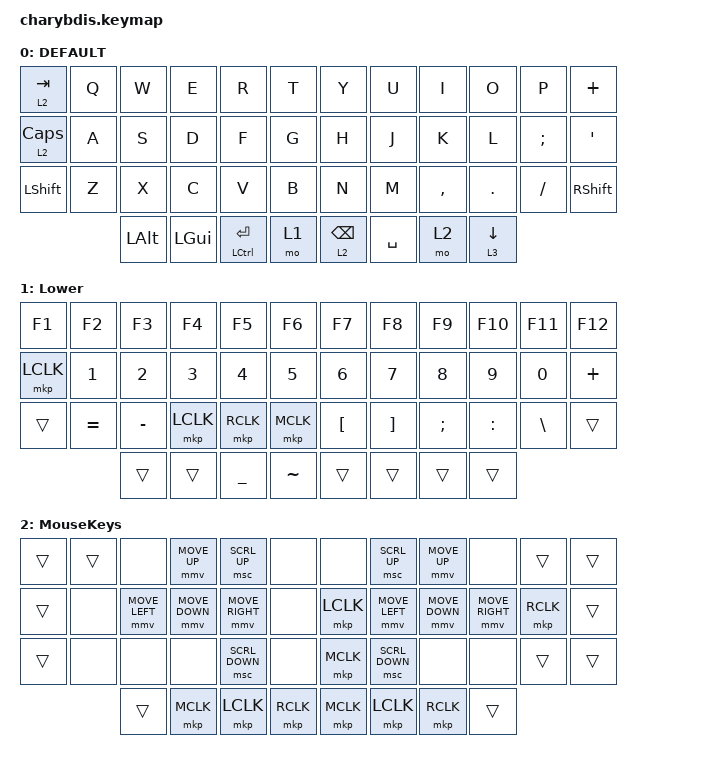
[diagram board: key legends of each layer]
#include <behaviors.dtsi>
#include <dt-bindings/zmk/mouse.h>
#include <dt-bindings/zmk/bt.h>
#include <dt-bindings/zmk/keys.h>
#include <dt-bindings/zmk/outputs.h>

#define DEFAULT 0
#define NUMBER  1
#define FN  2
#define HOTKEY  3



/ {
    

    combos {
        compatible = "zmk,combos";



        combo_lbrc {
            timeout-ms = <50>;
            key-positions = <4 5>; // KP: VB
            bindings = <&mt RBRC LBRC>; 
            layers = <0 1 2 3 4 5>;
        };

        combo_rbrc {
            timeout-ms = <50>;
            key-positions = <6 7>; // KP: NM
            bindings = <&kp RBRC>; 
            layers = <0 1 2 3 4 5>;
        }; 

        combo_lpar {
            timeout-ms = <50>;
            key-positions = <16 17>; // KP: FG
            bindings = <&mt RPAR LPAR>; 
            layers = <0 1 2 3 4 5>;
        };

        combo_rpar {
            timeout-ms = <50>;
            key-positions = <18 19>; 
            bindings = <&kp RPAR>; 
            layers = <0 1 2 3 4 5>;
        };

        combo_lbkt {
            timeout-ms = <50>;
            key-positions = <28 29>; // KP: RT
            bindings = <&mt RBKT LBKT>;  // 可以用CMD+这个单手返回到代码上一个编辑的地方 或者网页返回
            layers = <0 1 2 3 4 5>;
        };
        combo_rbkt {
            timeout-ms = <50>;
            key-positions = <30 31>; // KP: YU
            bindings = <&kp RBKT>; 
            layers = <0 1 2 3 4 5>;
        };

        esc {
            timeout-ms = <50>;
            key-positions = <0 1>;
            bindings = <&kp ESC>; // ESC
            layers = <0>;
        };

        up {
            bindings = <&kp UP>;
            key-positions = <3 4>;
            layers = <0>;
            timeout-ms = <50>;
        };

        down {
            bindings = <&kp DOWN>;
            key-positions = <27 28>;
            timeout-ms = <50>;
            layers = <0>;
        };

        left {
            bindings = <&kp LEFT>;
            key-positions = <14 15>;
            layers = <0>;
            timeout-ms = <50>;
        };

        right {
            bindings = <&kp RIGHT>;
            key-positions = <15 16>;
            layers = <0>;
            timeout-ms = <50>;
        };
    };

    keymap {
        compatible = "zmk,keymap";

        default_layer {
            label = "DEFAULT";
            bindings = <
     
// ╭────────────────────────┬────────────────────────┬────────────────────────┬────────────────────────┬────────────────────────┬────────────────────────╮    ╭────────────────────────┬────────────────────────┬────────────────────────┬───────────────────────┬────────────────────────┬────────────────────────╮
     &lt 2 TAB                  &kp Q                    &kp W                    &kp E                    &kp R                    &kp T                         &kp Y                    &kp U                    &kp I                    &kp O                    &kp P                     &kp PLUS
// ├────────────────────────┼────────────────────────┼────────────────────────┼────────────────────────┼────────────────────────┼────────────────────────┤    ├────────────────────────┼────────────────────────┼────────────────────────┼───────────────────────┼────────────────────────┼────────────────────────┤
    &lt 2 CAPSLOCK                &kp A                    &kp S                    &kp D                    &kp F                    &kp G                         &kp H                    &kp J                    &kp K                    &kp L                    &kp SEMI                 &kp SQT
// ├────────────────────────┼────────────────────────┼────────────────────────┼────────────────────────┼────────────────────────┼────────────────────────┤    ├────────────────────────┼────────────────────────┼────────────────────────┼───────────────────────┼────────────────────────┼────────────────────────┤
     &kp LSHFT                &kp Z                    &kp X                    &kp C                    &kp V                    &kp B                         &kp N                    &kp M                    &kp COMMA                &kp DOT                  &kp FSLH                 &kp RSHFT
// ╰────────────────────────┴────────────────────────┴────────────────────────┴────────────────────────┼────────────────────────┼────────────────────────┤    ├────────────────────────┼────────────────────────┼────────────────────────┼───────────────────────┼────────────────────────┼────────────────────────╯
                                                          &kp LEFT_ALT             &kp LGUI               &mt LCTRL ENTER            &mo 1                       &lt 2 BACKSPACE             &kp SPACE               &mo 2                      &lt 3 DOWN                       
//                                                                            ╰────────────────────────┴────────────────────────┴────────────────────────╯    ╰────────────────────────┴────────────────────────┴────────────────────────╯

      >;
        };
        
       Lower_layer {
      display-name = "Lower";
      bindings = <
     
// ╭────────────────────────┬────────────────────────┬────────────────────────┬────────────────────────┬────────────────────────┬────────────────────────╮    ╭────────────────────────┬────────────────────────┬────────────────────────┬────────────────────────┬────────────────────────┬────────────────────────╮
     &kp F1                       &kp F2                        &kp F3               &kp F4                   &kp F5                  &kp F6                    &kp F7                         &kp F8                    &kp F9                 &kp F10                     &kp F11            &kp F12
// ├────────────────────────┼────────────────────────┼────────────────────────┼────────────────────────┼────────────────────────┼────────────────────────┤    ├────────────────────────┼────────────────────────┼────────────────────────┼────────────────────────┼────────────────────────┼────────────────────────┤
      &mkp LCLK                  &kp N1                    &kp N2                    &kp N3                   &kp N4                   &kp N5                    &kp N6                        &kp N7                    &kp N8                 &kp N9                       &kp N0             &kp PLUS
// ├────────────────────────┼────────────────────────┼────────────────────────┼────────────────────────┼────────────────────────┼────────────────────────┤    ├────────────────────────┼────────────────────────┼────────────────────────┼────────────────────────┼────────────────────────┼────────────────────────┤
     &trans                   &kp EQUAL                &kp MINUS               &mkp LCLK                &mkp RCLK            &mkp MCLK              &kp LEFT_BRACKET         &kp RIGHT_BRACKET        &kp SEMICOLON            &kp COLON                &kp BACKSLASH             &trans
// ╰────────────────────────┴────────────────────────┴────────────────────────┴────────────────────────┼────────────────────────┼────────────────────────┤    ├────────────────────────┼────────────────────────┼────────────────────────┼────────────────────────┴────────────────────────┼────────────────────────╯
                                                         &trans                 &trans                      &kp UNDERSCORE           &kp TILDE                                &trans                    &trans                 &trans               &trans
//                                                                            ╰────────────────────────┴────────────────────────┴────────────────────────╯    ╰────────────────────────┴────────────────────────┴────────────────────────╯
      >;
    };

MouseKeys_layer {
      display-name = "MouseKeys";
      bindings = <
      
// ╭────────────────────────┬────────────────────────┬────────────────────────┬────────────────────────┬────────────────────────┬────────────────────────╮    ╭────────────────────────┬────────────────────────┬────────────────────────┬────────────────────────┬────────────────────────┬────────────────────────╮
     &trans             &trans             &none                    &mmv MOVE_UP             &msc SCRL_UP             &none                         &none                    &msc SCRL_UP             &mmv MOVE_UP             &none                    &trans              &trans
// ├────────────────────────┼────────────────────────┼────────────────────────┼────────────────────────┼────────────────────────┼────────────────────────┤    ├────────────────────────┼────────────────────────┼────────────────────────┼────────────────────────┼────────────────────────┼────────────────────────┤
     &trans                   &none                    &mmv MOVE_LEFT           &mmv MOVE_DOWN           &mmv MOVE_RIGHT          &none                         &mkp LCLK                     &mmv MOVE_LEFT           &mmv MOVE_DOWN           &mmv MOVE_RIGHT         &mkp RCLK                      &trans
// ├────────────────────────┼────────────────────────┼────────────────────────┼────────────────────────┼────────────────────────┼────────────────────────┤    ├────────────────────────┼────────────────────────┼────────────────────────┼────────────────────────┼────────────────────────┼────────────────────────┤
     &trans                   &none                    &none                    &none                    &msc SCRL_DOWN           &none                         &mkp MCLK                    &msc SCRL_DOWN           &none                    &none                    &trans                    &trans
// ╰────────────────────────┴────────────────────────┴────────────────────────┴────────────────────────┼────────────────────────┼────────────────────────┤    ├────────────────────────┼────────────────────────┼────────────────────────┼────────────────────────┴────────────────────────┼────────────────────────╯
                                                           &trans                 &mkp MCLK                &mkp LCLK                &mkp RCLK                     &mkp MCLK                &mkp LCLK                &mkp RCLK               &trans                
//                                                                            ╰────────────────────────┴────────────────────────┴────────────────────────╯    ╰────────────────────────┴────────────────────────┴────────────────────────╯
      >;
    };







    };
};
